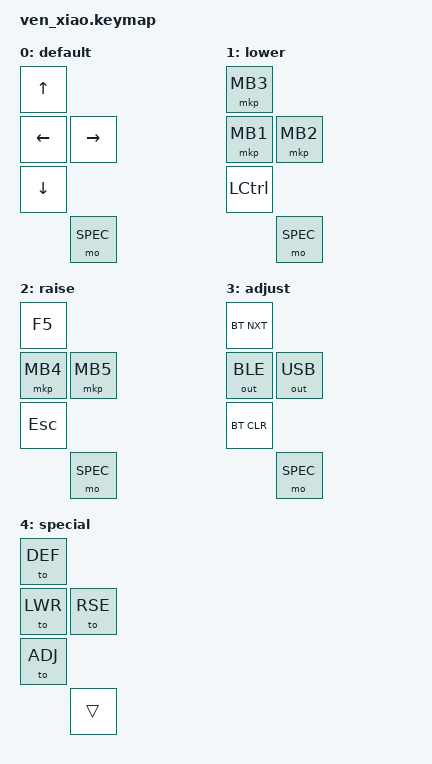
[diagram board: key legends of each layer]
#include <behaviors.dtsi>
#include <dt-bindings/zmk/keys.h>
#include <dt-bindings/zmk/bt.h>
#include <dt-bindings/zmk/outputs.h>
#include <dt-bindings/zmk/pointing.h>

#define DEF 0
#define LWR 1
#define RSE 2
#define ADJ 3
#define SPEC 4

#define BLE OUT_BLE
#define USB OUT_USB

/ {
    keymap {
        compatible = "zmk,keymap";

        default {
/* Default (ArrowKeys-DH)
 */
            bindings = <
                &kp UP
            &kp LEFT    &kp RIGHT
                &kp DOWN
                        &mo SPEC
            >;
        };

        lower {
/* LOWER (Mouse click) - triggered LEFT
 */
            bindings = <
                &mkp MB3
            &mkp MB1    &mkp MB2
                &kp LCTRL
                        &mo SPEC
            >;
        };

        raise {
/* RAISE (BrowserNav) triggered RIGHT
*/
            bindings = <
                &kp F5
            &mkp MB4    &mkp MB5
                &kp ESC
                        &mo SPEC
            >;
        };
 
        adjust {
/* ADJUST (BT) triggered DOWN
 */
            bindings = <
                &bt BT_NXT
            &out BLE    &out USB
                &bt BT_CLR
                        &mo SPEC
            >;
        };

        special {
/* SPECIAL (layer swap)
 */
            bindings = <
                &to DEF
            &to LWR     &to RSE
                &to ADJ
                        &trans
            >;
        };
    };
};
